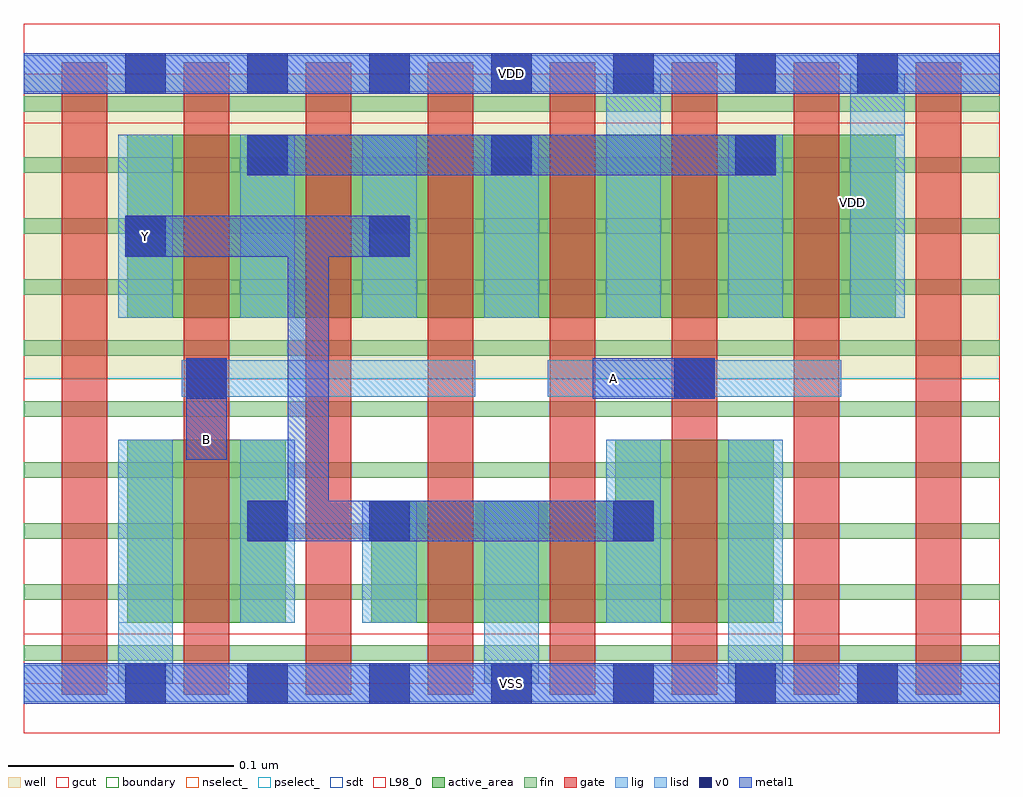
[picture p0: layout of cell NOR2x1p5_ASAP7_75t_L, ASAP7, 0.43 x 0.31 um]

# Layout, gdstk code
import gdstk
lib = gdstk.Library(unit=1e-6, precision=2.5e-10)
def R(c, l, rs):  # rectangles x0, y0, x1, y1
    for r in rs: c.add(gdstk.rectangle(r[:2], r[2:], *l))
def A(c, l, x, y, w, h, nx, ny, dx, dy):  # array of equal rectangles
    R(c, l, [(x+i*dx, y+j*dy, x+i*dx+w, y+j*dy+h) for i in range(nx) for j in range(ny)])
def P(c, l, *ps):  # polygons
    for p in ps: c.add(gdstk.Polygon(p, *l))
well = (1, 0)
fin = (2, 0)
gate = (7, 0)
gcut = (10, 0)
active_area = (11, 0)
nselect_ = (12, 0)
pselect_ = (13, 0)
lig = (16, 0)
lisd = (17, 0)
v0 = (18, 0)
metal1 = (19, 0)
sdt = (88, 0)
L98_0 = (98, 0)
boundary = (100, 0)

nor2x1p5_asap7_75t_l = lib.new_cell('NOR2x1p5_ASAP7_75t_L')
R(nor2x1p5_asap7_75t_l, well, [(0,0.135,0.432,0.27)])
A(nor2x1p5_asap7_75t_l, fin, 0, 0.01, 0.432, 0.007, 1, 10, 0, 0.027)
A(nor2x1p5_asap7_75t_l, gate, 0.017, -0.005, 0.02, 0.28, 8, 1, 0.054, 0)
R(nor2x1p5_asap7_75t_l, gcut, [(0,-0.022,0.432,0.022), (0,0.248,0.432,0.292)])
R(nor2x1p5_asap7_75t_l, active_area, [(0.046,0.027,0.116,0.108), (0.046,0.162,0.386,0.243)])
P(nor2x1p5_asap7_75t_l, active_area, [(0.332,0.108),(0.262,0.108),(0.262,0.081),(0.154,0.081),(0.154,0.027),(0.332,0.027)])
R(nor2x1p5_asap7_75t_l, nselect_, [(0,0,0.432,0.135)])
R(nor2x1p5_asap7_75t_l, pselect_, [(0,0.135,0.432,0.27)])
R(nor2x1p5_asap7_75t_l, lig, [(0,-0.008,0.432,0.008), (0.07,0.127,0.2,0.143), (0.232,0.127,0.362,0.143), (0,0.262,0.432,0.278)])
A(nor2x1p5_asap7_75t_l, lisd, 0.042, 0.162, 0.024, 0.081, 4, 1, 0.054, 0)
R(nor2x1p5_asap7_75t_l, lisd, [(0.042,0,0.066,0.108), (0.204,0,0.228,0.081), (0.312,0,0.336,0.108), (0.096,0.027,0.12,0.108), (0.15,0.027,0.174,0.081), (0.258,0.027,0.282,0.108), (0.258,0.162,0.282,0.27), (0.312,0.162,0.336,0.243), (0.366,0.162,0.39,0.27)])
A(nor2x1p5_asap7_75t_l, v0, 0.045, -0.009, 0.018, 0.018, 7, 2, 0.054, 0.27)
A(nor2x1p5_asap7_75t_l, v0, 0.099, 0.225, 0.018, 0.018, 3, 1, 0.108, 0)
R(nor2x1p5_asap7_75t_l, v0, [(0.099,0.063,0.117,0.081), (0.153,0.063,0.171,0.081), (0.261,0.063,0.279,0.081), (0.072,0.126,0.09,0.144), (0.288,0.126,0.306,0.144), (0.045,0.189,0.063,0.207), (0.153,0.189,0.171,0.207)])
R(nor2x1p5_asap7_75t_l, metal1, [(0,-0.009,0.432,0.009), (0.072,0.099,0.09,0.144), (0.252,0.126,0.306,0.144), (0.099,0.225,0.333,0.243), (0,0.261,0.432,0.279)])
P(nor2x1p5_asap7_75t_l, metal1, [(0.279,0.081),(0.135,0.081),(0.135,0.189),(0.171,0.189),(0.171,0.207),(0.045,0.207),(0.045,0.189),(0.117,0.189),(0.117,0.081),(0.099,0.081),(0.099,0.063),(0.279,0.063)])
A(nor2x1p5_asap7_75t_l, sdt, 0.042, 0.162, 0.024, 0.081, 7, 1, 0.054, 0)
R(nor2x1p5_asap7_75t_l, sdt, [(0.042,0.027,0.066,0.108), (0.096,0.027,0.12,0.108), (0.15,0.027,0.174,0.081), (0.204,0.027,0.228,0.081), (0.258,0.027,0.282,0.108), (0.312,0.027,0.336,0.108)])
R(nor2x1p5_asap7_75t_l, L98_0, [(0,0,0.432,0.27)])
R(nor2x1p5_asap7_75t_l, boundary, [(0,0,0.432,0.27)])
nor2x1p5_asap7_75t_l.add(gdstk.Label('Y', (0.054,0.198), layer=19, texttype=251))
nor2x1p5_asap7_75t_l.add(gdstk.Label('A', (0.261,0.135), layer=19, texttype=251))
nor2x1p5_asap7_75t_l.add(gdstk.Label('B', (0.081,0.108), layer=19, texttype=251))
nor2x1p5_asap7_75t_l.add(gdstk.Label('VSS', (0.216,0), layer=19, texttype=251))
nor2x1p5_asap7_75t_l.add(gdstk.Label('VDD', (0.216,0.27), layer=19, texttype=251))
nor2x1p5_asap7_75t_l.add(gdstk.Label('VDD', (0.367,0.213), layer=1, texttype=251))
nor2x1p5_asap7_75t_l.add(gdstk.Label('VSS', (0.497,0.213), layer=3, texttype=251))

lib.write_gds('NOR2x1p5_ASAP7_75t_L.gds')
